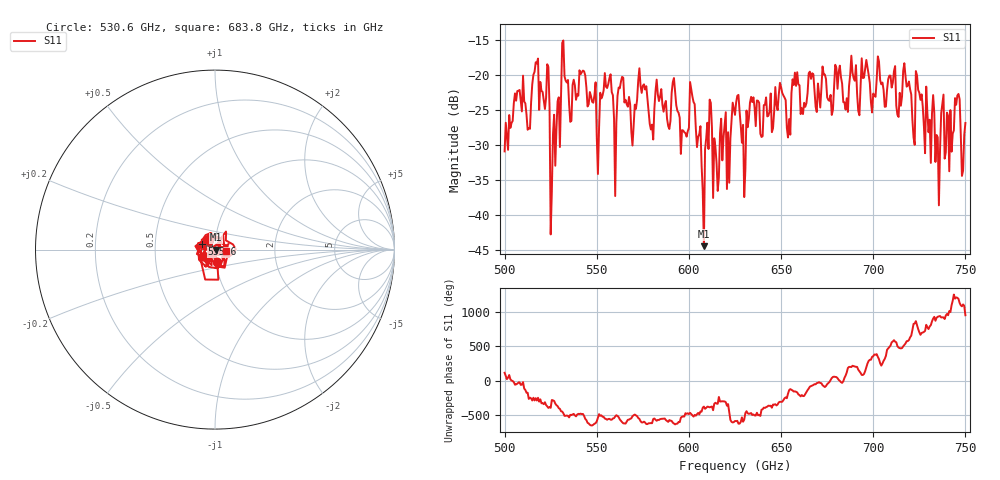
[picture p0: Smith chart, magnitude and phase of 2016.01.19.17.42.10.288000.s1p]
!Created with skrf (http://scikit-rf.org).
# GHz S RI R 50.0
!freq ReS11 ImS11
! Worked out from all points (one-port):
!   401 points, 500 GHz to 750 GHz, reference 50 ohm
!   lowest |S11| = -44.5 dB at 608.1 GHz (marker M1), VSWR 1.01, Z = 50.6 - j0.121 ohm
!   |S11| at or under -10 dB: start of sweep to end of sweep
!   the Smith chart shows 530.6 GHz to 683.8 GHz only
!   S11 on the Smith chart (normalised r, x): 530.6 GHz: 1.02, -0.15; 555.6 GHz: 0.86, +0.05; 683.8 GHz: 1.14, -0.01
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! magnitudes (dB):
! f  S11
! 500 GHz  -31.0
! 506.9 GHz  -22.4
! 513.1 GHz  -27.6
! 516.9 GHz  -18.2
! 523.1 GHz  -18.5
! 526.2 GHz  -28.5
! 530.6 GHz  -22.8
! 531.2 GHz  -15.5
! 551.2 GHz  -27.6
! 555.6 GHz  -21.9
! 560 GHz  -37.4
! 562.5 GHz  -21.9
! 593.8 GHz  -25.2
! 596.9 GHz  -28.0
! 601.9 GHz  -23.1
! 608.1 GHz  -44.5
! 610.6 GHz  -30.6
! 614.4 GHz  -30.3
! 625 GHz  -25.8
! 629.4 GHz  -27.2
! 634.4 GHz  -23.9
! 656.2 GHz  -20.7
! 683.8 GHz  -23.9
! 687.5 GHz  -20.0
! 718.8 GHz  -21.6
! 735 GHz  -29.0
! 745.6 GHz  -23.0
! 750 GHz  -26.9
